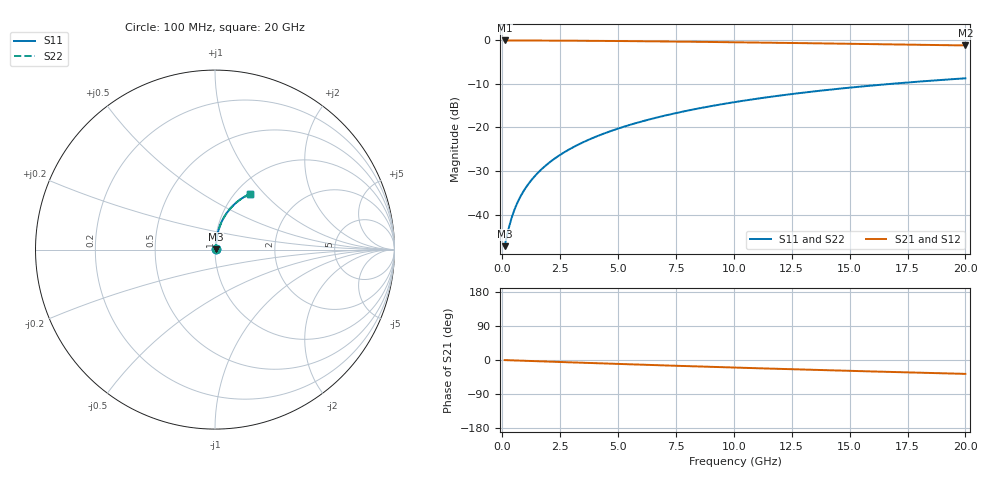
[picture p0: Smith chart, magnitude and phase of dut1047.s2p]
! Touchstone file exported from HFSS 2024.1.0
!  File:  C:/UserFiles/LocalFiles/RDL_TSV_Batchsim/temp_RDL_top_1047_1780044353.aedt
!  Generated:  04:47:51 PM May 29, 2026
!  Design:  RDL_top
!  Project:  temp_RDL_top_1047_1780044353
!  Setup:  Setup1
!  Solution:  Sweep
! Variables:
!  dtsv = 10.80580581um
!  hbump = 3um
!  htsv = 76.18um
!  ldown = 100um
!  lrdl = 513.31um
!  p = 40
!  p1 = 40.77um
!  rhole = 1um
!  t = 450um
!  tdown = 3.915915916um
!  trdl = 3.08um
!  wdown = 15.38538539um
!  wrdl = 16.13um
# GHz S MA R 50.000000
! Terminal data exported
! Port[1] = Box2_T1
! Port[2] = Box2_T2
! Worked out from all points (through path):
!   200 points, 100 MHz to 20 GHz, reference 50 ohm
!   highest |S21| = -0.03 dB at 100 MHz (marker M1); lowest = -1.2 dB at 20 GHz (marker M2)
!   group delay of S21, straight-line fit = 5.07 ps
!   lowest |S11| = -47.2 dB at 100 MHz (marker M3), VSWR 1.01, Z = 50.4 + j0.21 ohm
!   |S11| at or under -10 dB: start of sweep to 16.77 GHz
!   |S22| runs from -47.2 to -8.7 dB; largest |S21 - S12| = 2.6e-15
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0.1  0.004347 28.7  0.9962 -0.2  0.9962 -0.2  0.004347 28.7
! Gamma 0 0 0 0
! Port Impedance 50 0 50 0
0.3  0.007356 56.6  0.9959 -0.7  0.9959 -0.7  0.007356 56.6
0.4  0.009125 62.6  0.9958 -0.9  0.9958 -0.9  0.009125 62.6
0.5  0.01093 66.6  0.9956 -1.1  0.9956 -1.1  0.01093 66.6
0.6  0.01275 69.5  0.9955 -1.3  0.9955 -1.3  0.01275 69.5
0.8  0.01642 73.3  0.9952 -1.7  0.9952 -1.7  0.01642 73.3
1  0.02012 75.7  0.9949 -2.1  0.9949 -2.1  0.02012 75.7
1.2  0.02385 77.4  0.9945 -2.6  0.9945 -2.6  0.02385 77.4
1.4  0.0276 78.6  0.9942 -3.0  0.9942 -3.0  0.0276 78.6
1.7  0.03327 79.8  0.9936 -3.6  0.9936 -3.6  0.03327 79.8
2.2  0.04279 80.9  0.9924 -4.6  0.9924 -4.6  0.04279 80.9
2.8  0.05431 81.4  0.9907 -5.9  0.9907 -5.9  0.05431 81.4
3.5  0.06785 81.5  0.9882 -7.3  0.9882 -7.3  0.06785 81.4
4.2  0.08147 81.1  0.9854 -8.8  0.9854 -8.8  0.08146 81.1
5  0.09712 80.5  0.9816 -10.4  0.9816 -10.4  0.09711 80.5
5.9  0.1148 79.6  0.9768 -12.2  0.9768 -12.2  0.1148 79.5
6.8  0.1325 78.5  0.9716 -13.9  0.9716 -13.9  0.1325 78.4
8.4  0.1639 76.3  0.9613 -17.0  0.9613 -17.0  0.1638 76.2
10.1  0.1968 73.7  0.9496 -20.1  0.9496 -20.1  0.1967 73.6
13.4  0.2582 68.4  0.925 -25.9  0.925 -25.9  0.2581 68.3
16.7  0.3151 63.0  0.8993 -31.4  0.8993 -31.4  0.3149 63.0
20  0.3666 57.9  0.8732 -36.6  0.8732 -36.6  0.3664 57.8
